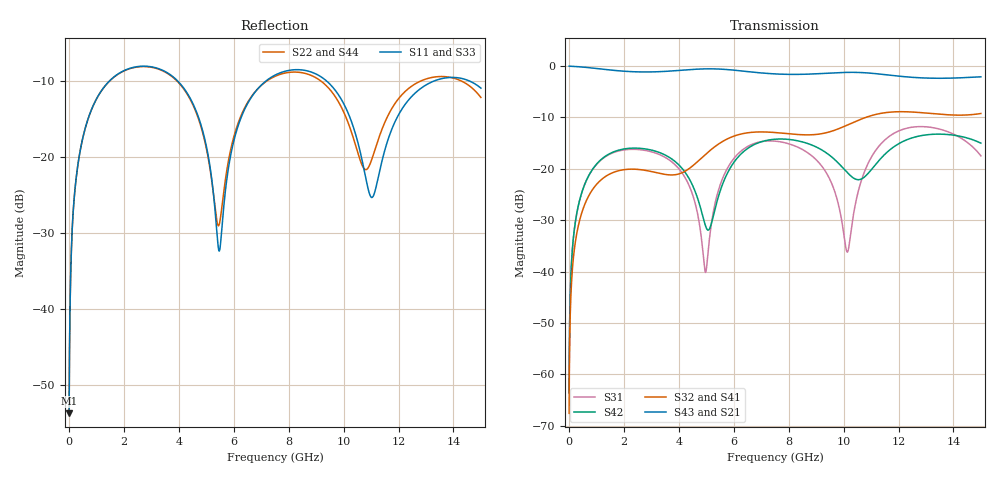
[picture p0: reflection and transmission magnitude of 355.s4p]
! Created with skrf 1.8.0 (http://scikit-rf.org).
# GHz S RI R 50.0
!freq ReS11 ImS11 ReS12 ImS12 ReS13 ImS13
! ReS14 ImS14
! ReS21 ImS21 ReS22 ImS22 ReS23 ImS23
! ReS24 ImS24
! ReS31 ImS31 ReS32 ImS32 ReS33 ImS33
! ReS34 ImS34
! ReS41 ImS41 ReS42 ImS42 ReS43 ImS43
! ReS44 ImS44
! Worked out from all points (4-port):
!   2499 points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, 5 MHz to 15 GHz, reference 50 ohm
!   strongest paths, dB at 5 MHz, 3.476 GHz, 7.19 GHz, 11.1 GHz, 15 GHz:
!     S43: 0.0, -1.0, -1.4, -1.4, -2.1
!     S21: 0.0, -1.0, -1.4, -1.4, -2.1
!     S32: -67.6, -21.1, -12.8, -9.5, -9.2
!     S41: -67.6, -21.1, -12.9, -9.5, -9.3
!     S42: -63.6, -17.2, -14.5, -19.6, -15.0
!     S31: -63.6, -17.7, -14.6, -17.0, -17.5
!   lowest |S11| = -53.7 dB at 5 MHz (marker M1), VSWR 1.00, Z = 50.2 + j0.125 ohm
!   |S11| at or under -10 dB: start of sweep to 1.482 GHz; 3.95 GHz to 7.184 GHz (3.234 GHz wide, 58.1 % of centre); 9.37 GHz to 13.32 GHz (3.948 GHz wide, 34.8 % of centre) (the widest 3 of 4)
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0.005  0.00164 0.00125  0.9983 -0.0032  8.26e-05 0.000655  -8.03e-05 -0.00041
       0.9983 -0.0032  0.00164 0.00125  -8.03e-05 -0.00041  8.28e-05 0.000655
       8.26e-05 0.000655  -8.03e-05 -0.00041  0.00164 0.00125  0.9983 -0.0032
       -8.03e-05 -0.00041  8.28e-05 0.000655  0.9983 -0.0032  0.00164 0.00125
0.3126303  0.0242 0.0822  0.967 -0.1991  0.0109 0.0389  -0.00925 -0.0241
           0.967 -0.1991  0.0241 0.0822  -0.00926 -0.0241  0.0114 0.0388
           0.0109 0.0389  -0.00926 -0.0241  0.0242 0.0822  0.967 -0.1991
           -0.00925 -0.0241  0.0114 0.0388  0.967 -0.1991  0.0241 0.0822
1.519383  0.2658 0.18  0.5613 -0.7225  0.1231 0.0674  -0.0896 -0.00823
          0.5613 -0.7225  0.2637 0.1813  -0.0897 -0.00817  0.1293 0.0591
          0.1231 0.0674  -0.0897 -0.00817  0.2657 0.18  0.5613 -0.7226
          -0.0896 -0.00823  0.1293 0.0591  0.5613 -0.7226  0.2638 0.1812
5.308462  0.0257 -0.0391  -0.9278 -0.1473  0.012 0.0431  -0.0229 0.1625
          -0.9278 -0.1473  0.0366 -0.0315  -0.0222 0.1627  -0.02 0.0343
          0.012 0.0431  -0.0222 0.1627  0.0244 -0.0395  -0.9278 -0.1473
          -0.0229 0.1625  -0.02 0.0343  -0.9278 -0.1473  0.0379 -0.0315
8.509796  0.3685 -0.0504  0.0212 0.831  0.1431 -0.0564  0.2018 -0.0686
          0.0212 0.831  0.3543 -0.039  0.2024 -0.0714  0.1384 -0.1192
          0.1431 -0.0564  0.2024 -0.0714  0.3665 -0.0457  0.0212 0.8317
          0.2018 -0.0686  0.1384 -0.1192  0.0212 0.8317  0.3528 -0.0436
11.20467  0.061 0.0247  0.8426 -0.00563  0.0866 0.1296  -0.0171 -0.3399
          0.8426 -0.00563  0.1032 0.0626  -0.022 -0.3394  -0.0137 0.1127
          0.0866 0.1296  -0.022 -0.3394  0.0646 0.0277  0.8426 -0.00648
          -0.0171 -0.3399  -0.0137 0.1127  0.8426 -0.00648  0.099 0.0665
15  0.243 -0.1446  -0.3473 -0.7045  0.0913 -0.0981  -0.2865 0.1909
    -0.3473 -0.7045  0.2036 -0.1374  -0.2838 0.1974  0.0291 -0.1755
    0.0913 -0.0981  -0.2838 0.1974  0.2414 -0.1393  -0.3474 -0.7054
    -0.2865 0.1909  0.0291 -0.1755  -0.3474 -0.7054  0.1998 -0.1396
